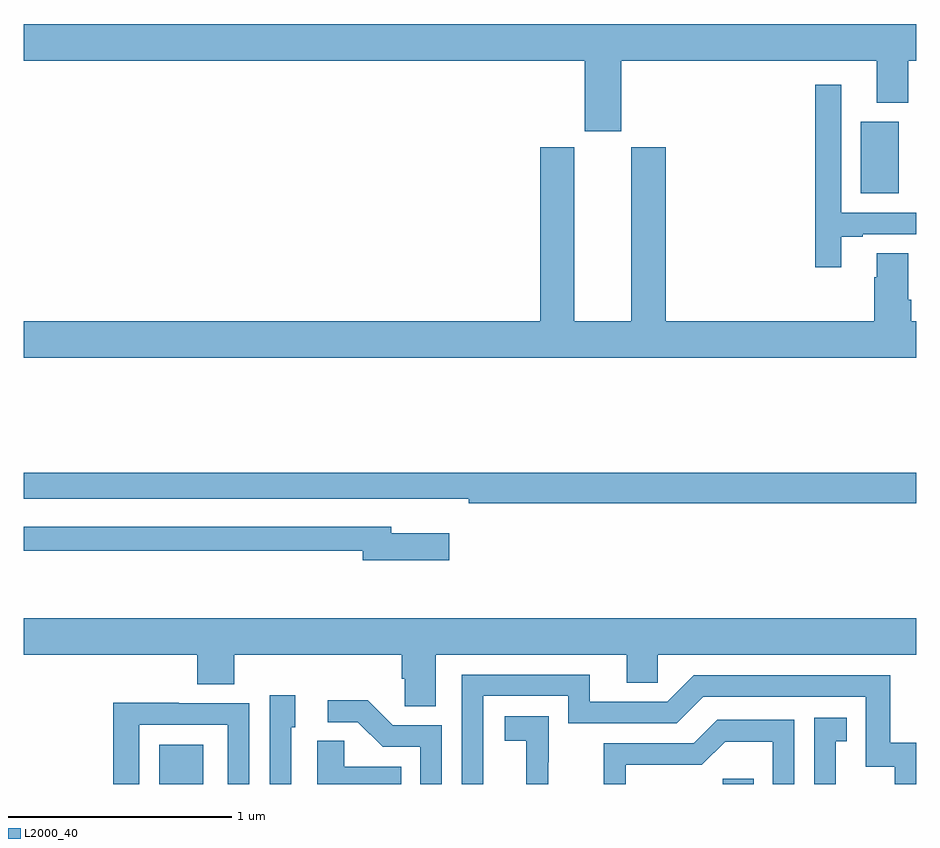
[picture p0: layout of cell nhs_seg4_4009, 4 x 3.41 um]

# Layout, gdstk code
import gdstk
lib = gdstk.Library(unit=1e-6, precision=1e-09)
def R(c, l, rs):  # rectangles x0, y0, x1, y1
    for r in rs: c.add(gdstk.rectangle(r[:2], r[2:], *l))
def P(c, l, *ps):  # polygons
    for p in ps: c.add(gdstk.Polygon(p, *l))
L2000_40 = (2000, 40)

nhs_seg4_4009 = lib.new_cell('nhs_seg4_4009')
R(nhs_seg4_4009, L2000_40, [(323.606,802.9,323.803,803.077), (326.133,802.9,326.273,802.923), (326.753,805.55,326.923,805.87)])
P(nhs_seg4_4009, L2000_40, [(325.678,806.144),(326.825,806.144),(326.825,805.955),(326.965,805.955),(326.965,806.144),(327,806.144),(327,806.308),(323,806.308),(323,806.144),(325.514,806.144),(325.514,805.827),(325.678,805.827)],
  [(326.665,805.353),(326.761,805.353),(326.761,805.365),(327,805.365),(327,805.461),(326.664,805.461),(326.664,806.035),(326.548,806.035),(326.548,805.218),(326.665,805.218)],
  [(327,804.976),(326.978,804.976),(326.978,805.072),(326.965,805.072),(326.965,805.28),(326.825,805.28),(326.825,805.172),(326.813,805.172),(326.813,804.976),(325.877,804.976),(325.877,805.755),(325.724,805.755),(325.724,804.976),(325.468,804.976),(325.468,805.755),(325.316,805.755),(325.316,804.976),(323,804.976),(323,804.812),(327,804.812)],
  [(327,804.296),(323,804.296),(323,804.18),(324.742,804.18),(324.742,804.179),(324.994,804.179),(324.994,804.16),(327,804.16)],
  [(324.907,804.025),(324.646,804.025),(324.646,804.054),(323,804.054),(323,803.946),(324.518,803.946),(324.518,803.903),(324.907,803.903)],
  [(324.847,803.48),(325.703,803.48),(325.703,803.353),(325.842,803.353),(325.842,803.48),(327,803.48),(327,803.644),(323,803.644),(323,803.48),(323.777,803.48),(323.777,803.347),(323.942,803.347),(323.942,803.48),(324.695,803.48),(324.695,803.371),(324.708,803.371),(324.708,803.248),(324.847,803.248)],
  [(325.059,803.295),(325.44,803.295),(325.44,803.172),(325.926,803.172),(326.046,803.292),(326.775,803.292),(326.775,802.977),(326.904,802.977),(326.904,802.9),(327,802.9),(327,803.086),(326.884,803.086),(326.884,803.388),(326.004,803.388),(325.884,803.268),(325.537,803.268),(325.537,803.391),(324.963,803.391),(324.963,802.9),(325.059,802.9)],
  [(324.198,803.154),(324.217,803.154),(324.217,803.299),(324.102,803.299),(324.102,802.9),(324.198,802.9)],
  [(324.873,803.163),(324.654,803.163),(324.541,803.276),(324.363,803.276),(324.363,803.178),(324.497,803.178),(324.608,803.067),(324.777,803.067),(324.777,802.9),(324.873,802.9)],
  [(323.517,803.166),(323.913,803.166),(323.913,802.9),(324.009,802.9),(324.009,803.262),(323.693,803.262),(323.693,803.264),(323.401,803.264),(323.401,802.9),(323.517,802.9)],
  [(325.352,802.997),(325.353,802.997),(325.353,803.203),(325.155,803.203),(325.155,803.093),(325.253,803.093),(325.253,802.9),(325.352,802.9)],
  [(326.641,803.091),(326.69,803.091),(326.69,803.197),(326.544,803.197),(326.544,802.9),(326.641,802.9)],
  [(325.698,802.986),(326.04,802.986),(326.144,803.09),(326.358,803.09),(326.358,802.9),(326.454,802.9),(326.454,803.187),(326.108,803.187),(326.003,803.082),(325.6,803.082),(325.6,802.9),(325.698,802.9)],
  [(324.692,802.978),(324.435,802.978),(324.435,803.093),(324.314,803.093),(324.314,802.9),(324.692,802.9)])

lib.write_gds('nhs_seg4_4009.gds')
